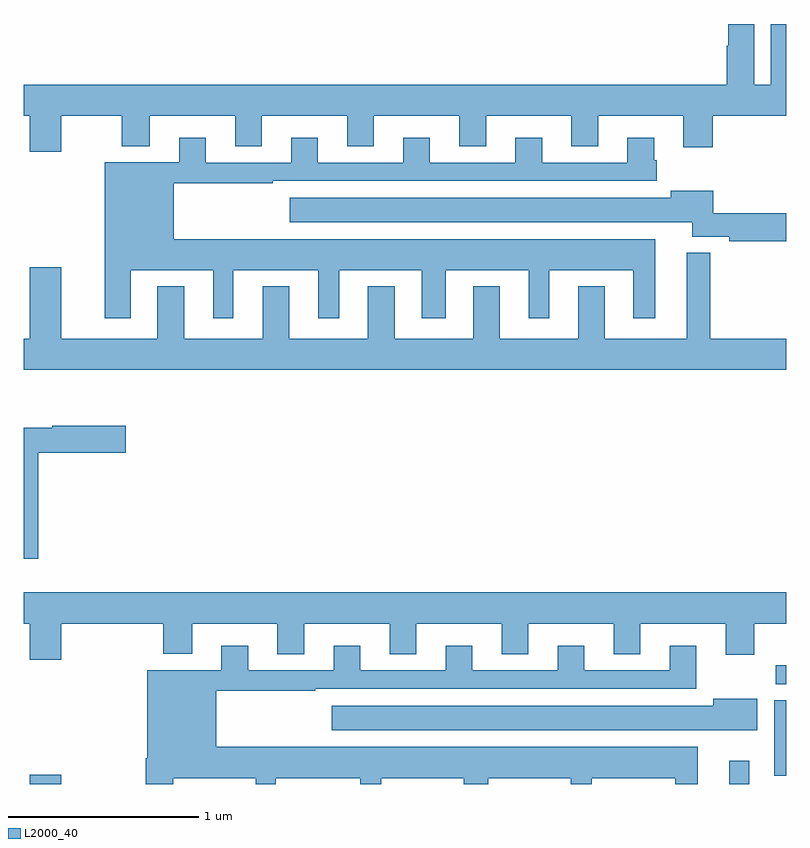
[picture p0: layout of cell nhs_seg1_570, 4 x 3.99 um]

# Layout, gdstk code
import gdstk
lib = gdstk.Library(unit=1e-6, precision=1e-09)
def R(c, l, rs):  # rectangles x0, y0, x1, y1
    for r in rs: c.add(gdstk.rectangle(r[:2], r[2:], *l))
def P(c, l, *ps):  # polygons
    for p in ps: c.add(gdstk.Polygon(p, *l))
L2000_40 = (2000, 40)

nhs_seg1_570 = lib.new_cell('nhs_seg1_570')
R(nhs_seg1_570, L2000_40, [(141.032,576.199,141.196,576.247), (144.701,576.199,144.805,576.322), (144.938,576.241,145,576.638), (144.945,576.723,145,576.822)])
P(nhs_seg1_570, L2000_40, [(141.196,579.704),(141.514,579.704),(141.514,579.545),(141.661,579.545),(141.661,579.704),(142.109,579.704),(142.109,579.544),(142.249,579.544),(142.249,579.704),(142.697,579.704),(142.697,579.544),(142.837,579.544),(142.837,579.704),(143.285,579.704),(143.285,579.544),(143.425,579.544),(143.425,579.704),(143.873,579.704),(143.873,579.544),(144.013,579.544),(144.013,579.704),(144.461,579.704),(144.461,579.54),(144.614,579.54),(144.614,579.704),(145,579.704),(145,580.186),(144.92,580.186),(144.92,579.868),(144.832,579.868),(144.832,580.186),(144.695,580.186),(144.695,580.073),(144.689,580.073),(144.689,579.868),(141,579.868),(141,579.704),(141.032,579.704),(141.032,579.516),(141.196,579.516)],
  [(141.562,578.894),(141.995,578.894),(141.995,578.643),(142.099,578.643),(142.099,578.894),(142.544,578.894),(142.544,578.643),(142.654,578.643),(142.654,578.894),(143.087,578.894),(143.087,578.643),(143.215,578.643),(143.215,578.894),(143.648,578.894),(143.648,578.643),(143.758,578.643),(143.758,578.894),(144.197,578.894),(144.197,578.643),(144.313,578.643),(144.313,579.058),(141.787,579.058),(141.787,579.351),(142.307,579.351),(142.307,579.363),(144.32,579.363),(144.32,579.471),(144.307,579.471),(144.307,579.589),(144.167,579.589),(144.167,579.459),(143.719,579.459),(143.719,579.589),(143.579,579.589),(143.579,579.459),(143.131,579.459),(143.131,579.589),(142.991,579.589),(142.991,579.459),(142.543,579.459),(142.543,579.589),(142.403,579.589),(142.403,579.459),(141.955,579.459),(141.955,579.589),(141.815,579.589),(141.815,579.46),(141.425,579.46),(141.425,578.643),(141.562,578.643)],
  [(145,579.194),(144.616,579.194),(144.616,579.31),(144.395,579.31),(144.395,579.274),(142.395,579.274),(142.395,579.146),(144.506,579.146),(144.506,579.071),(144.702,579.071),(144.702,579.047),(145,579.047)],
  [(145,578.536),(144.601,578.536),(144.601,578.986),(144.479,578.986),(144.479,578.536),(144.049,578.536),(144.049,578.809),(143.909,578.809),(143.909,578.536),(143.497,578.536),(143.497,578.809),(143.357,578.809),(143.357,578.536),(142.945,578.536),(142.945,578.809),(142.805,578.809),(142.805,578.536),(142.393,578.536),(142.393,578.809),(142.253,578.809),(142.253,578.536),(141.841,578.536),(141.841,578.809),(141.701,578.809),(141.701,578.536),(141.196,578.536),(141.196,578.911),(141.032,578.911),(141.032,578.536),(141,578.536),(141,578.372),(145,578.372)],
  [(141.077,577.937),(141.535,577.937),(141.535,578.079),(141.15,578.079),(141.15,578.067),(141,578.067),(141,577.38),(141.077,577.38)],
  [(141.196,577.04),(141.731,577.04),(141.731,576.881),(141.883,576.881),(141.883,577.04),(142.331,577.04),(142.331,576.88),(142.471,576.88),(142.471,577.04),(142.919,577.04),(142.919,576.88),(143.059,576.88),(143.059,577.04),(143.507,577.04),(143.507,576.88),(143.647,576.88),(143.647,577.04),(144.095,577.04),(144.095,576.88),(144.235,576.88),(144.235,577.04),(144.683,577.04),(144.683,576.876),(144.831,576.876),(144.831,577.04),(145,577.04),(145,577.204),(141,577.204),(141,577.04),(141.032,577.04),(141.032,576.852),(141.196,576.852)],
  [(141.784,576.23),(142.217,576.23),(142.217,576.199),(142.321,576.199),(142.321,576.23),(142.766,576.23),(142.766,576.199),(142.876,576.199),(142.876,576.23),(143.309,576.23),(143.309,576.199),(143.437,576.199),(143.437,576.23),(143.87,576.23),(143.87,576.199),(143.98,576.199),(143.98,576.23),(144.419,576.23),(144.419,576.199),(144.535,576.199),(144.535,576.394),(142.009,576.394),(142.009,576.687),(142.529,576.687),(142.529,576.699),(144.529,576.699),(144.529,576.925),(144.389,576.925),(144.389,576.795),(143.941,576.795),(143.941,576.925),(143.801,576.925),(143.801,576.795),(143.353,576.795),(143.353,576.925),(143.213,576.925),(143.213,576.795),(142.765,576.795),(142.765,576.925),(142.625,576.925),(142.625,576.795),(142.177,576.795),(142.177,576.925),(142.037,576.925),(142.037,576.796),(141.647,576.796),(141.647,576.334),(141.64,576.334),(141.64,576.199),(141.784,576.199)],
  [(144.847,576.646),(144.617,576.646),(144.617,576.61),(142.617,576.61),(142.617,576.482),(144.847,576.482)])

lib.write_gds('nhs_seg1_570.gds')
